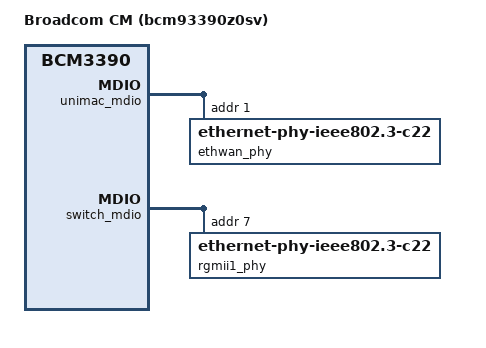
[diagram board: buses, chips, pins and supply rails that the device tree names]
/dts-v1/;

/ {
	model = "Broadcom CM (bcm93390z0sv)";
	compatible = "brcm,bcm93390z0sv",
		     "brcm,bcm3390z0",
		     "brcm,bcm3390",
		     "brcm,brcmcm", "brcm,brcmstb";
	subsystem = "rg";
	#address-cells = <0x2>;
	#size-cells = <0x2>;
	interrupt-parent = <&gic>;

	identifier@0 {
			    /* chip id    mfg id     a/c pwr    don't park */
		chipid_reg = < 0x20404000 0x204e6120 0x03800080 0x20410068 >;
		chipid_msk = < 0xffffffff 0x0000f000 0x00000000 0x00000001 >;
		chipid_val = < 0x33900060 0x0000a000 0x00000000 0x00000000 >;
			     /* SV   */
		boardid_msk = < 0xf0 >;
		boardid_val = < 0x10 >;
	};
};

/include/ "rg.3390b0-bolt.dtsi"
/include/ "rg.3390-base.dtsi"
/include/ "rg.3390-wifi.dtsi"
/include/ "rg.3390-ethwan.dtsi"
/include/ "rg.3390z0-bolt.dtsi"

/********************************************************************
 * any nodes that appear below are platform specific additions and
 * replacements.
 * The dtc will add or replace any properties in the nodes
 * below to the same nodes that appear in include files above.
 * If the property does not exist in the node above it will be added.
 * If the property does exist it will replace it.
 ********************************************************************/
&mbox {
	override-bmu-state;
};

&unimac_mdio {
	ethwan_phy: phy@1 {
		/* BCM54610 C1 on SV */
		compatible = "ethernet-phy-ieee802.3-c22";
		reg = <1>;
	};
};

&switch_mdio {
	rgmii1_phy: phy@7 {
		/* BCM54810 C0 on SV */
		compatible = "ethernet-phy-ieee802.3-c22";
		reg = <7>;
	};
};

&vreg_wl0 {
	gpio = <&upg_gpio 80 0>;
};

&vreg_wl1_rf {
	gpio = <&upg_gpio 79 0>;
};

&vreg_wl0 {
	gpio = <&upg_gpio 80 0>;
};

&vreg_wl1_rf {
	gpio = <&upg_gpio 79 0>;
};

&wler_rfap {
	dev-names = "wl0 wl1";
};

&wifi_rfpwr {
	supply-names = "vreg-wl0-rf", "vreg-wl1-rf";
	/delete-property/vreg-wl2-rf-supply;
};

/ {
	/delete-node/vreg-wl2;
	/delete-node/vreg-wl2-rf;

	chosen {
		filename = "rg.3390z0-sv.dtb";
	};
};
